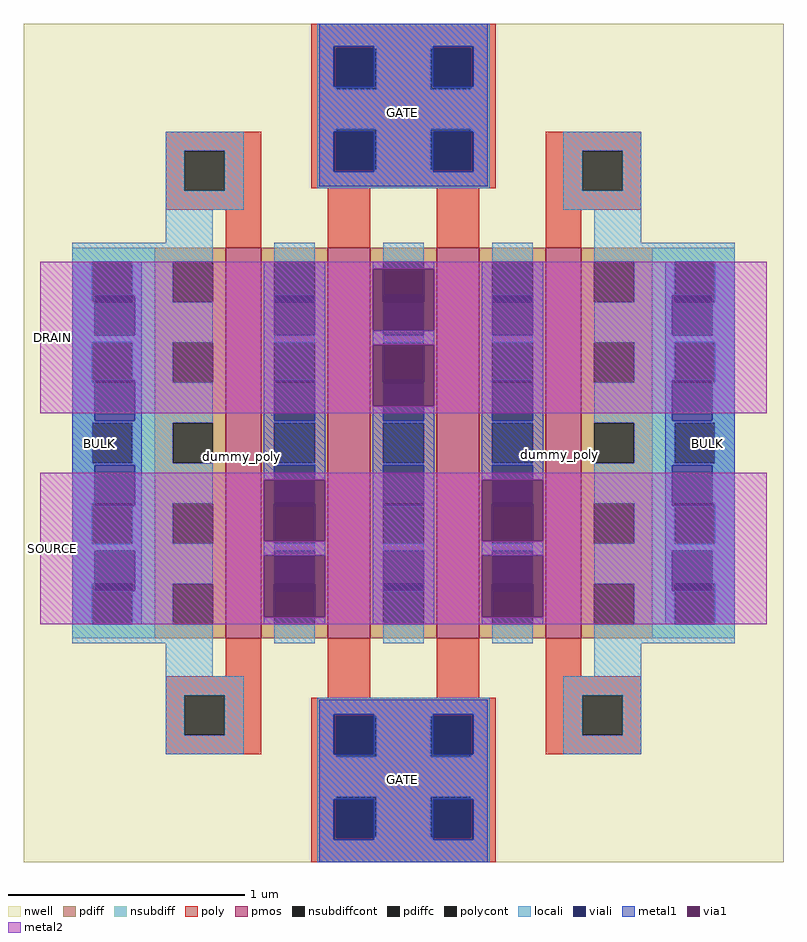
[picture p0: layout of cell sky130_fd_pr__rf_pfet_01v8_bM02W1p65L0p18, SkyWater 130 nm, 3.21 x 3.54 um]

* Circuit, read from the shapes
.subckt sky130_fd_pr__rf_pfet_01v8_bM02W1p65L0p18 BULK DRAIN GATE SOURCE
XM1 SOURCE BULK BULK BULK sky130_fd_pr__pfet_01v8 w=1.65 l=0.15 m=2
XM2 DRAIN GATE SOURCE BULK sky130_fd_pr__pfet_01v8 w=1.65 l=0.18 m=2
.ends

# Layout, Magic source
magic
tech sky130A
magscale 1 2
<< nwell >>
rect 0 0 642 708
<< pmos >>
rect 171 189 201 519
rect 257 189 293 519
rect 349 189 385 519
rect 441 189 471 519
<< pdiff >>
rect 111 507 171 519
rect 111 473 126 507
rect 160 473 171 507
rect 111 439 171 473
rect 111 405 126 439
rect 160 405 171 439
rect 111 371 171 405
rect 111 337 126 371
rect 160 337 171 371
rect 111 303 171 337
rect 111 269 126 303
rect 160 269 171 303
rect 111 235 171 269
rect 111 201 126 235
rect 160 201 171 235
rect 111 189 171 201
rect 201 507 257 519
rect 201 473 212 507
rect 246 473 257 507
rect 201 439 257 473
rect 201 405 212 439
rect 246 405 257 439
rect 201 371 257 405
rect 201 337 212 371
rect 246 337 257 371
rect 201 303 257 337
rect 201 269 212 303
rect 246 269 257 303
rect 201 235 257 269
rect 201 201 212 235
rect 246 201 257 235
rect 201 189 257 201
rect 293 507 349 519
rect 293 473 304 507
rect 338 473 349 507
rect 293 439 349 473
rect 293 405 304 439
rect 338 405 349 439
rect 293 371 349 405
rect 293 337 304 371
rect 338 337 349 371
rect 293 303 349 337
rect 293 269 304 303
rect 338 269 349 303
rect 293 235 349 269
rect 293 201 304 235
rect 338 201 349 235
rect 293 189 349 201
rect 385 507 441 519
rect 385 473 396 507
rect 430 473 441 507
rect 385 439 441 473
rect 385 405 396 439
rect 430 405 441 439
rect 385 371 441 405
rect 385 337 396 371
rect 430 337 441 371
rect 385 303 441 337
rect 385 269 396 303
rect 430 269 441 303
rect 385 235 441 269
rect 385 201 396 235
rect 430 201 441 235
rect 385 189 441 201
rect 471 507 531 519
rect 471 473 482 507
rect 516 473 531 507
rect 471 439 531 473
rect 471 405 482 439
rect 516 405 531 439
rect 471 371 531 405
rect 471 337 482 371
rect 516 337 531 371
rect 471 303 531 337
rect 471 269 482 303
rect 516 269 531 303
rect 471 235 531 269
rect 471 201 482 235
rect 516 201 531 235
rect 471 189 531 201
<< pdiffc >>
rect 126 473 160 507
rect 126 405 160 439
rect 126 337 160 371
rect 126 269 160 303
rect 126 201 160 235
rect 212 473 246 507
rect 212 405 246 439
rect 212 337 246 371
rect 212 269 246 303
rect 212 201 246 235
rect 304 473 338 507
rect 304 405 338 439
rect 304 337 338 371
rect 304 269 338 303
rect 304 201 338 235
rect 396 473 430 507
rect 396 405 430 439
rect 396 337 430 371
rect 396 269 430 303
rect 396 201 430 235
rect 482 473 516 507
rect 482 405 516 439
rect 482 337 516 371
rect 482 269 516 303
rect 482 201 516 235
<< nsubdiff >>
rect 41 507 111 519
rect 41 473 58 507
rect 92 473 111 507
rect 41 439 111 473
rect 41 405 58 439
rect 92 405 111 439
rect 41 371 111 405
rect 41 337 58 371
rect 92 337 111 371
rect 41 303 111 337
rect 41 269 58 303
rect 92 269 111 303
rect 41 235 111 269
rect 41 201 58 235
rect 92 201 111 235
rect 41 189 111 201
rect 531 507 601 519
rect 531 473 550 507
rect 584 473 601 507
rect 531 439 601 473
rect 531 405 550 439
rect 584 405 601 439
rect 531 371 601 405
rect 531 337 550 371
rect 584 337 601 371
rect 531 303 601 337
rect 531 269 550 303
rect 584 269 601 303
rect 531 235 601 269
rect 531 201 550 235
rect 584 201 601 235
rect 531 189 601 201
<< nsubdiffcont >>
rect 58 473 92 507
rect 58 405 92 439
rect 58 337 92 371
rect 58 269 92 303
rect 58 201 92 235
rect 550 473 584 507
rect 550 405 584 439
rect 550 337 584 371
rect 550 269 584 303
rect 550 201 584 235
<< poly >>
rect 243 687 399 708
rect 243 653 264 687
rect 298 653 344 687
rect 378 653 399 687
rect 243 619 399 653
rect 120 601 201 617
rect 120 567 136 601
rect 170 567 201 601
rect 243 585 264 619
rect 298 585 344 619
rect 378 585 399 619
rect 243 569 399 585
rect 441 601 522 617
rect 120 551 201 567
rect 171 519 201 551
rect 257 519 293 569
rect 349 519 385 569
rect 441 567 472 601
rect 506 567 522 601
rect 441 551 522 567
rect 441 519 471 551
rect 171 157 201 189
rect 120 141 201 157
rect 120 107 136 141
rect 170 107 201 141
rect 257 139 293 189
rect 349 139 385 189
rect 441 157 471 189
rect 441 141 522 157
rect 120 91 201 107
rect 243 123 399 139
rect 243 89 264 123
rect 298 89 344 123
rect 378 89 399 123
rect 441 107 472 141
rect 506 107 522 141
rect 441 91 522 107
rect 243 55 399 89
rect 243 21 264 55
rect 298 21 344 55
rect 378 21 399 55
rect 243 0 399 21
<< polycont >>
rect 264 653 298 687
rect 344 653 378 687
rect 136 567 170 601
rect 264 585 298 619
rect 344 585 378 619
rect 472 567 506 601
rect 136 107 170 141
rect 264 89 298 123
rect 344 89 378 123
rect 472 107 506 141
rect 264 21 298 55
rect 344 21 378 55
<< locali >>
rect 248 689 394 708
rect 248 655 262 689
rect 296 687 346 689
rect 248 653 264 655
rect 298 653 344 687
rect 380 655 394 689
rect 378 653 394 655
rect 248 619 394 653
rect 248 617 264 619
rect 120 601 186 617
rect 120 567 136 601
rect 170 567 186 601
rect 248 583 262 617
rect 298 585 344 619
rect 378 617 394 619
rect 296 583 346 585
rect 380 583 394 617
rect 248 569 394 583
rect 456 601 522 617
rect 120 551 186 567
rect 456 567 472 601
rect 506 567 522 601
rect 456 551 522 567
rect 120 523 160 551
rect 482 523 522 551
rect 41 507 160 523
rect 41 473 58 507
rect 92 479 126 507
rect 94 473 126 479
rect 41 445 60 473
rect 94 445 160 473
rect 41 439 160 445
rect 41 405 58 439
rect 92 407 126 439
rect 94 405 126 407
rect 41 373 60 405
rect 94 373 160 405
rect 41 371 160 373
rect 41 337 58 371
rect 92 337 126 371
rect 41 335 160 337
rect 41 303 60 335
rect 94 303 160 335
rect 41 269 58 303
rect 94 301 126 303
rect 92 269 126 301
rect 41 263 160 269
rect 41 235 60 263
rect 94 235 160 263
rect 41 201 58 235
rect 94 229 126 235
rect 92 201 126 229
rect 41 185 160 201
rect 212 507 246 523
rect 212 439 246 445
rect 212 371 246 373
rect 212 335 246 337
rect 212 263 246 269
rect 212 185 246 201
rect 304 507 338 523
rect 304 439 338 445
rect 304 371 338 373
rect 304 335 338 337
rect 304 263 338 269
rect 304 185 338 201
rect 396 507 430 523
rect 396 439 430 445
rect 396 371 430 373
rect 396 335 430 337
rect 396 263 430 269
rect 396 185 430 201
rect 482 507 601 523
rect 516 479 550 507
rect 516 473 548 479
rect 584 473 601 507
rect 482 445 548 473
rect 582 445 601 473
rect 482 439 601 445
rect 516 407 550 439
rect 516 405 548 407
rect 584 405 601 439
rect 482 373 548 405
rect 582 373 601 405
rect 482 371 601 373
rect 516 337 550 371
rect 584 337 601 371
rect 482 335 601 337
rect 482 303 548 335
rect 582 303 601 335
rect 516 301 548 303
rect 516 269 550 301
rect 584 269 601 303
rect 482 263 601 269
rect 482 235 548 263
rect 582 235 601 263
rect 516 229 548 235
rect 516 201 550 229
rect 584 201 601 235
rect 482 185 601 201
rect 120 157 160 185
rect 482 157 522 185
rect 120 141 186 157
rect 120 107 136 141
rect 170 107 186 141
rect 456 141 522 157
rect 120 91 186 107
rect 248 125 394 139
rect 248 91 262 125
rect 296 123 346 125
rect 248 89 264 91
rect 298 89 344 123
rect 380 91 394 125
rect 456 107 472 141
rect 506 107 522 141
rect 456 91 522 107
rect 378 89 394 91
rect 248 55 394 89
rect 248 53 264 55
rect 248 19 262 53
rect 298 21 344 55
rect 378 53 394 55
rect 296 19 346 21
rect 380 19 394 53
rect 248 0 394 19
<< viali >>
rect 262 687 296 689
rect 346 687 380 689
rect 262 655 264 687
rect 264 655 296 687
rect 346 655 378 687
rect 378 655 380 687
rect 262 585 264 617
rect 264 585 296 617
rect 346 585 378 617
rect 378 585 380 617
rect 262 583 296 585
rect 346 583 380 585
rect 60 473 92 479
rect 92 473 94 479
rect 60 445 94 473
rect 60 405 92 407
rect 92 405 94 407
rect 60 373 94 405
rect 60 303 94 335
rect 60 301 92 303
rect 92 301 94 303
rect 60 235 94 263
rect 60 229 92 235
rect 92 229 94 235
rect 212 473 246 479
rect 212 445 246 473
rect 212 405 246 407
rect 212 373 246 405
rect 212 303 246 335
rect 212 301 246 303
rect 212 235 246 263
rect 212 229 246 235
rect 304 473 338 479
rect 304 445 338 473
rect 304 405 338 407
rect 304 373 338 405
rect 304 303 338 335
rect 304 301 338 303
rect 304 235 338 263
rect 304 229 338 235
rect 396 473 430 479
rect 396 445 430 473
rect 396 405 430 407
rect 396 373 430 405
rect 396 303 430 335
rect 396 301 430 303
rect 396 235 430 263
rect 396 229 430 235
rect 548 473 550 479
rect 550 473 582 479
rect 548 445 582 473
rect 548 405 550 407
rect 550 405 582 407
rect 548 373 582 405
rect 548 303 582 335
rect 548 301 550 303
rect 550 301 582 303
rect 548 235 582 263
rect 548 229 550 235
rect 550 229 582 235
rect 262 123 296 125
rect 346 123 380 125
rect 262 91 264 123
rect 264 91 296 123
rect 346 91 378 123
rect 378 91 380 123
rect 262 21 264 53
rect 264 21 296 53
rect 346 21 378 53
rect 378 21 380 53
rect 262 19 296 21
rect 346 19 380 21
<< metal1 >>
rect 250 689 392 708
rect 250 655 262 689
rect 296 655 346 689
rect 380 655 392 689
rect 250 617 392 655
rect 250 583 262 617
rect 296 583 346 617
rect 380 583 392 617
rect 250 571 392 583
rect 41 479 100 507
rect 41 445 60 479
rect 94 445 100 479
rect 41 407 100 445
rect 41 373 60 407
rect 94 373 100 407
rect 41 335 100 373
rect 41 301 60 335
rect 94 301 100 335
rect 41 263 100 301
rect 41 229 60 263
rect 94 229 100 263
rect 41 201 100 229
rect 203 479 255 507
rect 203 445 212 479
rect 246 445 255 479
rect 203 407 255 445
rect 203 373 212 407
rect 246 373 255 407
rect 203 335 255 373
rect 203 323 212 335
rect 246 323 255 335
rect 203 263 255 271
rect 203 259 212 263
rect 246 259 255 263
rect 203 201 255 207
rect 295 501 347 507
rect 295 445 304 449
rect 338 445 347 449
rect 295 437 347 445
rect 295 373 304 385
rect 338 373 347 385
rect 295 335 347 373
rect 295 301 304 335
rect 338 301 347 335
rect 295 263 347 301
rect 295 229 304 263
rect 338 229 347 263
rect 295 201 347 229
rect 387 479 439 507
rect 387 445 396 479
rect 430 445 439 479
rect 387 407 439 445
rect 387 373 396 407
rect 430 373 439 407
rect 387 335 439 373
rect 387 323 396 335
rect 430 323 439 335
rect 387 263 439 271
rect 387 259 396 263
rect 430 259 439 263
rect 387 201 439 207
rect 542 479 601 507
rect 542 445 548 479
rect 582 445 601 479
rect 542 407 601 445
rect 542 373 548 407
rect 582 373 601 407
rect 542 335 601 373
rect 542 301 548 335
rect 582 301 601 335
rect 542 263 601 301
rect 542 229 548 263
rect 582 229 601 263
rect 542 201 601 229
rect 250 125 392 137
rect 250 91 262 125
rect 296 91 346 125
rect 380 91 392 125
rect 250 53 392 91
rect 250 19 262 53
rect 296 19 346 53
rect 380 19 392 53
rect 250 0 392 19
<< via1 >>
rect 203 301 212 323
rect 212 301 246 323
rect 246 301 255 323
rect 203 271 255 301
rect 203 229 212 259
rect 212 229 246 259
rect 246 229 255 259
rect 203 207 255 229
rect 295 479 347 501
rect 295 449 304 479
rect 304 449 338 479
rect 338 449 347 479
rect 295 407 347 437
rect 295 385 304 407
rect 304 385 338 407
rect 338 385 347 407
rect 387 301 396 323
rect 396 301 430 323
rect 430 301 439 323
rect 387 271 439 301
rect 387 229 396 259
rect 396 229 430 259
rect 430 229 439 259
rect 387 207 439 229
<< metal2 >>
rect 14 501 628 507
rect 14 449 295 501
rect 347 449 628 501
rect 14 437 628 449
rect 14 385 295 437
rect 347 385 628 437
rect 14 379 628 385
rect 14 323 628 329
rect 14 271 203 323
rect 255 271 387 323
rect 439 271 628 323
rect 14 259 628 271
rect 14 207 203 259
rect 255 207 387 259
rect 439 207 628 259
rect 14 201 628 207
<< labels >>
flabel comment s 184 343 184 343 0 FreeSans 180 90 0 0 dummy_poly
flabel comment s 453 344 453 344 0 FreeSans 180 90 0 0 dummy_poly
flabel metal1 s 255 608 386 659 0 FreeSans 200 0 0 0 GATE
port 3 nsew
flabel metal1 s 255 44 386 95 0 FreeSans 200 0 0 0 GATE
port 3 nsew
flabel metal1 s 41 339 87 369 0 FreeSans 200 90 0 0 BULK
port 1 nsew
flabel metal1 s 555 339 601 369 0 FreeSans 200 90 0 0 BULK
port 1 nsew
flabel metal2 s 14 201 35 329 7 FreeSans 300 180 0 0 SOURCE
port 4 nsew
flabel metal2 s 14 379 35 507 7 FreeSans 300 180 0 0 DRAIN
port 2 nsew
<< properties >>
string GDS_FILE $PDKPATH/libs.ref/sky130_fd_pr/gds/sky130_fd_pr.gds
string GDS_END 9572202
string GDS_START 9561110
<< end >>
